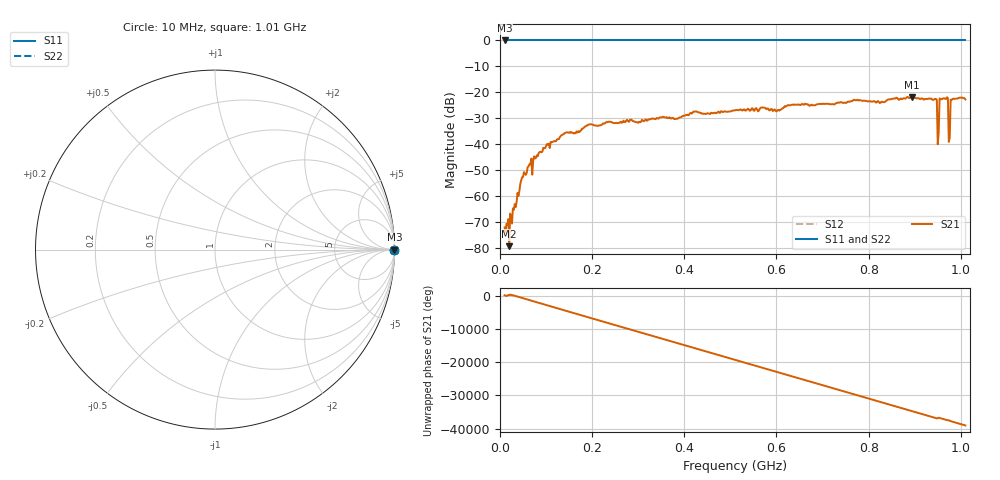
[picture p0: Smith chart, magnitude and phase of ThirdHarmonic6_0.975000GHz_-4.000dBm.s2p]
! 8/16/2025 7:27:24 AM
! C:\ANRITSUVNA\TEMP\TEMP.S2P
! CHANNEL.1
! TR.MEASUREMENT
! RAW.DATA
! RF.CORRECTION.OFF
! AVERAGING.OFF
! IF.BANDWIDTH: 5KHZ
! SWEEPTYPE:  FREQ.SWEEP(Linear)
! Reference Plane Port Info
! PORT:  PORT1  PORT2
! DISTANCE:  0  m  0  m
! TIME:  0  s  0  s
! PHASE.OFFSET:  0  deg.  0  deg.
! LOSS:  0  dB  0  dB
! REF.LOSS:  0  dB  0  dB
! REF.FREQ:  0  Hz  0  Hz
! Power Info
! POWER:  -20  dBm  -20  dBm
! EFF.POWER:  -20  dBm  -20  dBm
! SOURCE.ATTEN:  0  dB  0  dB
! TEST.ATTEN:  0  dB  0  dB
# GHZ S RI R 50.0
! FREQ.GHZ  S11RE  S11IM  S21RE  S21IM  S12RE  S12IM  S22RE  S22IM
!; PortSelection: Port_12
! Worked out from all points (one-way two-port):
!   501 points, 10 MHz to 1.01 GHz, reference 50 ohm
!   highest |S21| = -21.73 dB at 894 MHz (marker M1); lowest = -79.3 dB at 20 MHz (marker M2)
!   lowest |S11| = 0.0 dB at 10 MHz (marker M3)
!   |S11| at or under -10 dB: nowhere
!   |S22| runs from 0.0 to 0.0 dB; largest |S21 - S12| = 1.1
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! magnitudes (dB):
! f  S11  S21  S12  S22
! 10 MHz  0.0  -72.1  0.0  0.0
! 16 MHz  0.0  -71.1  0.0  0.0
! 20 MHz  0.0  -79.3  0.0  0.0
! 24 MHz  0.0  -68.0  0.0  0.0
! 48 MHz  0.0  -52.7  0.0  0.0
! 64 MHz  0.0  -47.7  0.0  0.0
! 136 MHz  0.0  -36.2  0.0  0.0
! 178 MHz  0.0  -34.0  0.0  0.0
! 344 MHz  0.0  -30.1  0.0  0.0
! 510 MHz  0.0  -26.9  0.0  0.0
! 678 MHz  0.0  -25.0  0.0  0.0
! 844 MHz  0.0  -22.7  0.0  0.0
! 894 MHz  0.0  -21.7  0.0  0.0
! 944 MHz  0.0  -22.5  0.0  0.0
! 948 MHz  0.0  -22.9  0.0  0.0
! 954 MHz  0.0  -22.3  0.0  0.0
! 958 MHz  0.0  -22.7  0.0  0.0
! 968 MHz  0.0  -22.6  0.0  0.0
! 972 MHz  0.0  -22.2  0.0  0.0
! 978 MHz  0.0  -22.8  0.0  0.0
! 982 MHz  0.0  -22.5  0.0  0.0
! 1.01 GHz  0.0  -22.7  0.0  0.0
